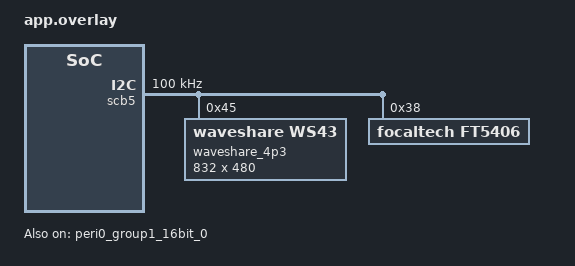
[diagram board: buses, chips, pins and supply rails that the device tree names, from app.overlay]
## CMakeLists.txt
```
cmake_minimum_required(VERSION 3.20.0)
find_package(Zephyr REQUIRED HINTS $ENV{ZEPHYR_BASE})
project(psoc_e84_lvgl_waveshare_touch)

# Chapter 018 deliberately extends the verified GFXSS/DSI implementation in
# Chapter 017.  The display and its CM33 clock-startup module remain a single
# source of truth while this chapter owns the FT5406 and LVGL input layer.
set(DISPLAY_CHAPTER ${CMAKE_CURRENT_SOURCE_DIR}/../017_LVGL_Waveshare_4_3_Display)
set(IFX_PDL ${ZEPHYR_HAL_INFINEON_MODULE_DIR}/mtb-dsl-pse8xxgp/pdl)
set(IFX_GFX ${IFX_PDL}/drivers/third_party/COMPONENT_GFXSS)

target_sources(app PRIVATE
  src/main.c
  src/ft5406_touch.c
  ${DISPLAY_CHAPTER}/src/waveshare_4p3_display.c
  ${IFX_PDL}/drivers/source/cy_mipidsi.c
  ${IFX_GFX}/cy_graphics.c
  ${IFX_GFX}/vsi/dcnano8000/DCUser/rtos/viv_dc_interface.c
  ${IFX_GFX}/vsi/dcnano8000/DCUser/rtos/viv_dc_os.c
  ${IFX_GFX}/vsi/dcnano8000/DCUser/viv_dc_setting.c
  ${IFX_GFX}/vsi/dcnano8000/DCUser/viv_dc_tools.c
  ${IFX_GFX}/vsi/dcnano8000/DCUser/viv_dc_util.c
  ${IFX_GFX}/vsi/dcnano8000/DCKernel/rtos/viv_dc_platform.c
  ${IFX_GFX}/vsi/dcnano8000/DCKernel/hardware/8000Nano/viv_dc_hardware.c
  ${IFX_GFX}/vsi/dcnano8000/DCKernel/viv_dc_core.c
  ${IFX_GFX}/vsi/dcnano8000/DCKernel/viv_dc_database.c
  ${IFX_GFX}/vsi/dcnano8000/DCKernel/dc_layer_feature.c
  ${IFX_GFX}/vsi/dcnano8000/DCKernel/viv_dc_lcd.c
  ${IFX_GFX}/vsi/dcnano8000/DCKernel/viv_dc_shell.c)

zephyr_include_directories(
  src
  ${DISPLAY_CHAPTER}/src
  ${IFX_PDL}/devices/include
  ${IFX_PDL}/devices/include/ip
  ${IFX_PDL}/drivers/include
  ${IFX_GFX}
  ${IFX_GFX}/vsi/dcnano8000/include
  ${IFX_GFX}/vsi/dcnano8000/DCKernel
  ${IFX_GFX}/vsi/dcnano8000/DCKernel/hardware/8000Nano
  ${IFX_GFX}/vsi/dcnano8000/DCKernel/rtos
  ${IFX_GFX}/vsi/dcnano8000/DCUser
  ${IFX_GFX}/vsi/dcnano8000/DCUser/rtos)

target_compile_definitions(app PRIVATE
  PSE846GPS2DBZC4A COMPONENT_55500 COMPONENT_55500A1 COMPONENT_CM55
  COMPONENT_CM55_0 COMPONENT_GFXSS COMPONENT_NON_SECURE_DEVICE _BAREMETAL=0)
target_compile_options(app PRIVATE -include cy_pdl.h)
```

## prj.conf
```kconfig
CONFIG_CONSOLE=y
CONFIG_UART_CONSOLE=y
CONFIG_PRINTK=y
CONFIG_I2C=y
CONFIG_DISPLAY=y
CONFIG_LVGL=y
CONFIG_LV_Z_AUTO_INIT=n
CONFIG_LV_Z_MEM_POOL_SIZE=65536
CONFIG_ASSERT=y
CONFIG_LV_COLOR_DEPTH_16=y
CONFIG_LV_Z_BUFFER_ALLOC_STATIC=y
CONFIG_LV_Z_VDB_ZEPHYR_REGION=y
CONFIG_LV_Z_VDB_ZEPHYR_REGION_NAME="GFX_MEM"
CONFIG_LV_Z_VDB_SIZE=100
CONFIG_LV_Z_FULL_REFRESH=y
CONFIG_LV_Z_VDB_ALIGN=128
CONFIG_LV_Z_DOUBLE_VDB=y
CONFIG_HEAP_MEM_POOL_SIZE=16384
CONFIG_MAIN_STACK_SIZE=4096
CONFIG_CRC=y
CONFIG_LV_FONT_MONTSERRAT_28=y
```

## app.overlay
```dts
/ {
	chosen {
		zephyr,display = &waveshare_4p3;
	};

	reserved-memory {
		#address-cells = <1>;
		#size-cells = <1>;
		ranges;

		gfx_mem: memory@26200000 {
			compatible = "zephyr,memory-region", "mmio-sram";
			zephyr,memory-region = "GFX_MEM";
			reg = <0x26200000 0x00300000>;
		};
	};
};

&p17_0_scb5_i2c_scl { drive-open-drain; input-enable; };
&p17_1_scb5_i2c_sda { drive-open-drain; input-enable; };

&peri0_group1_16bit_0 { status = "okay"; clock-div = <32>; };

&scb5 {
	compatible = "infineon,i2c";
	status = "okay";
	clocks = <&peri0_group1_16bit_0>;
	clock-frequency = <100000>;
	pinctrl-0 = <&p17_0_scb5_i2c_scl &p17_1_scb5_i2c_sda>;
	pinctrl-names = "default";
	#address-cells = <1>;
	#size-cells = <0>;

	waveshare_4p3: display@45 {
		compatible = "waveshare,ws43";
		reg = <0x45>;
		width = <832>;
		height = <480>;
		status = "okay";
	};

	ft5406: touch@38 {
		compatible = "focaltech,ft5406";
		reg = <0x38>;
		status = "okay";
	};
};
```

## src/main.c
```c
#include <zephyr/drivers/display.h>
#include <zephyr/drivers/uart.h>
#include <zephyr/init.h>
#include <zephyr/kernel.h>
#include <cy_sysclk.h>
#include <lvgl.h>
#include <lvgl_zephyr.h>
#include <stdio.h>
#include <string.h>

#include "ft5406_touch.h"
#include "waveshare_4p3_display.h"

static int display_clock_metadata_init(void)
{
	/* CM33 enables the external-clock PLL.  The M55 PDL copy also needs
	 * the board crystal frequency before GFXSS/DSI queries it. */
	Cy_SysClk_EcoSetFrequency(17203200U);
	return 0;
}
SYS_INIT(display_clock_metadata_init, PRE_KERNEL_1, 0);

static const struct device *display = DEVICE_DT_GET(DT_CHOSEN(zephyr_display));
static lv_obj_t *status_label;
static uint32_t click_count;
static char armed_token[40];
static uint32_t reported_touches;

static void update_status_label(const char *prefix)
{
	struct ft5406_status status;
	ft5406_get_status(&status);
	lv_label_set_text_fmt(status_label, "%s\nTouch count: %u\nLast: %u, %u",
			      prefix, status.touches, status.x, status.y);
}

static void button_event(lv_event_t *event)
{
	if (lv_event_get_code(event) != LV_EVENT_CLICKED) {
		return;
	}
	click_count++;
	update_status_label("Button clicked!");
	printk("OK TOUCH LVGL_CLICK count=%u\n", click_count);
}

static void report_touch_status(const char *token)
{
	struct ft5406_status status;
	ft5406_get_status(&status);
	int ret = (!status.ready || status.last_error != 0) ? -EIO : 0;
	printk("%s TOUCH STATUS token=%s ready=%u polls=%u reads=%u touches=%u "
	       "pressed=%u raw=%u,%u mapped=%u,%u ret=%d\n",
	       ret == 0 ? "OK" : "FAIL", token, status.ready, status.polls, status.reads,
	       status.touches, status.pressed, status.raw_x, status.raw_y, status.x, status.y, ret);
}

static void handle_command(char *line)
{
	char command[16];
	char token[40];
	char extra;
	if (sscanf(line, "touch %15s %39s %c", command, token, &extra) != 2) {
		printk("FAIL TOUCH COMMAND expected='touch info|arm TOKEN'\n");
		return;
	}
	if (strcmp(command, "info") == 0) {
		report_touch_status(token);
	} else if (strcmp(command, "arm") == 0) {
		strcpy(armed_token, token);
		reported_touches = 0;
		printk("OK TOUCH ARMED token=%s\n", armed_token);
	} else {
		printk("FAIL TOUCH COMMAND token=%s\n", token);
	}
}

int main(void)
{
	const struct device *uart = DEVICE_DT_GET(DT_CHOSEN(zephyr_console));
	if (!device_is_ready(display)) {
		printk("FAIL TOUCH display_not_ready\n");
		return 0;
	}
	int ret = lvgl_init();
	if (ret != 0 || lv_display_get_default() == NULL) {
		printk("FAIL TOUCH LVGL_INIT ret=%d\n", ret);
		return 0;
	}
	if (ft5406_init() != 0) {
		printk("FAIL TOUCH FT5406_INIT\n");
		return 0;
	}
	ft5406_lvgl_register();

	lv_obj_t *screen = lv_screen_active();
	lv_obj_set_style_bg_color(screen, lv_color_hex(0x102238), 0);
	lv_obj_t *title = lv_label_create(screen);
	lv_label_set_text(title, "TESA AIoT E84\nFT5406 Touch / LVGL");
	lv_obj_set_width(title, 800);
	lv_obj_set_style_text_align(title, LV_TEXT_ALIGN_CENTER, 0);
	lv_obj_set_style_text_color(title, lv_color_white(), 0);
	lv_obj_set_style_text_font(title, &lv_font_montserrat_28, 0);
	lv_obj_align(title, LV_ALIGN_TOP_MID, 0, 35);

	lv_obj_t *button = lv_button_create(screen);
	lv_obj_set_size(button, 400, 125);
	lv_obj_align(button, LV_ALIGN_CENTER, 0, 15);
	lv_obj_set_style_bg_color(button, lv_color_hex(0x1565C0), 0);
	lv_obj_add_event_cb(button, button_event, LV_EVENT_CLICKED, NULL);
	lv_obj_t *button_label = lv_label_create(button);
	lv_label_set_text(button_label, "TOUCH ME");
	lv_obj_set_style_text_font(button_label, &lv_font_montserrat_28, 0);
	lv_obj_center(button_label);

	status_label = lv_label_create(screen);
	lv_obj_set_width(status_label, 800);
	lv_obj_set_style_text_align(status_label, LV_TEXT_ALIGN_CENTER, 0);
	lv_obj_set_style_text_color(status_label, lv_color_hex(0xB7D7F5), 0);
	lv_obj_align(status_label, LV_ALIGN_BOTTOM_MID, 0, -35);
	update_status_label("Touch the blue button");
	lv_refr_now(NULL);
	ret = display_blanking_off(display);
	if (ret != 0) {
		printk("FAIL TOUCH BACKLIGHT ret=%d\n", ret);
		return 0;
	}
	printk("OK TOUCH INITIALIZATION_SUCCESS controller=FT5406\n");
	printk("INFO TOUCH COMMANDS touch info|arm TOKEN\n");

	char line[96];
	size_t used = 0;
	bool overflow = false;
	while (true) {
		(void)ft5406_poll();
		struct ft5406_status status;
		ft5406_get_status(&status);
		if (armed_token[0] != '\0' && status.touches != reported_touches) {
			reported_touches = status.touches;
			printk("OK TOUCH TAP token=%s mapped=%u,%u raw=%u,%u\n", armed_token,
			       status.x, status.y, status.raw_x, status.raw_y);
			armed_token[0] = '\0';
		}
		unsigned char ch;
		while (uart_poll_in(uart, &ch) == 0) {
			if (ch == '\r' || ch == '\n') {
				if (overflow) {
					printk("FAIL TOUCH COMMAND too_long\n");
				} else if (used > 0) {
					line[used] = '\0';
					handle_command(line);
				}
				used = 0;
				overflow = false;
			} else if (used < sizeof(line) - 1) {
				line[used++] = ch;
			} else {
				overflow = true;
			}
		}
		lv_timer_handler();
		k_msleep(20);
	}
}
```

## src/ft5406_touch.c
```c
#include <zephyr/device.h>
#include <zephyr/devicetree.h>
#include <zephyr/drivers/i2c.h>
#include <zephyr/kernel.h>
#include <zephyr/sys/util.h>
#include <lvgl.h>

#include "ft5406_touch.h"

#define FT5406_REG_MODE 0x00U
#define FT5406_REG_TOUCH_DATA 0x01U
#define FT5406_NORMAL_MODE 0x00U
#define FT5406_EVENT_DOWN 0U
#define FT5406_EVENT_CONTACT 2U
#define DISPLAY_WIDTH 800U
#define DISPLAY_HEIGHT 480U

static const struct i2c_dt_spec ft5406 = I2C_DT_SPEC_GET(DT_NODELABEL(ft5406));
static struct ft5406_status touch;

static uint16_t clamp_coordinate(int value, uint16_t maximum)
{
	return (uint16_t)CLAMP(value, 0, (int)maximum - 1);
}

static void ft5406_lvgl_read(lv_indev_t *indev, lv_indev_data_t *data)
{
	ARG_UNUSED(indev);
	data->state = touch.pressed ? LV_INDEV_STATE_PRESSED : LV_INDEV_STATE_RELEASED;
	data->point.x = touch.x;
	data->point.y = touch.y;
}

int ft5406_init(void)
{
	uint8_t normal_mode[] = { FT5406_REG_MODE, FT5406_NORMAL_MODE };

	if (!i2c_is_ready_dt(&ft5406)) {
		touch.last_error = -ENODEV;
		return touch.last_error;
	}
	touch.last_error = i2c_write_dt(&ft5406, normal_mode, sizeof(normal_mode));
	if (touch.last_error == 0) {
		touch.ready = true;
		printk("OK TOUCH FT5406_READY address=0x%02x\n", ft5406.addr);
	}
	return touch.last_error;
}

int ft5406_poll(void)
{
	uint8_t reg = FT5406_REG_TOUCH_DATA;
	uint8_t raw[6];
	int ret;
	bool was_pressed = touch.pressed;

	if (!touch.ready) {
		return -ENODEV;
	}
	touch.polls++;
	ret = i2c_write_read_dt(&ft5406, &reg, sizeof(reg), raw, sizeof(raw));
	if (ret != 0) {
		touch.last_error = ret;
		touch.pressed = false;
		return ret;
	}
	touch.reads++;
	touch.last_error = 0;
	touch.pressed = false;
	uint8_t count = raw[1] & 0x0fU;
	uint8_t event = raw[2] >> 6U;
	if (count != 0U && (event == FT5406_EVENT_DOWN || event == FT5406_EVENT_CONTACT)) {
		touch.raw_x = ((uint16_t)(raw[2] & 0x0fU) << 8U) | raw[3];
		touch.raw_y = ((uint16_t)(raw[4] & 0x0fU) << 8U) | raw[5];
		/* The 4.3-inch panel is physically rotated relative to the DSI scan-out. */
		touch.x = clamp_coordinate((int)DISPLAY_WIDTH - 1 - touch.raw_x, DISPLAY_WIDTH);
		touch.y = clamp_coordinate((int)DISPLAY_HEIGHT - 1 - touch.raw_y, DISPLAY_HEIGHT);
		touch.pressed = true;
		if (!was_pressed) {
			touch.touches++;
			printk("OK TOUCH EVENT raw=%u,%u mapped=%u,%u count=%u\n",
			       touch.raw_x, touch.raw_y, touch.x, touch.y, count);
		}
	}
	return 0;
}

void ft5406_lvgl_register(void)
{
	lv_indev_t *indev = lv_indev_create();
	__ASSERT(indev != NULL, "LVGL touch input allocation failed");
	lv_indev_set_type(indev, LV_INDEV_TYPE_POINTER);
	lv_indev_set_read_cb(indev, ft5406_lvgl_read);
}

void ft5406_get_status(struct ft5406_status *status)
{
	*status = touch;
}
```

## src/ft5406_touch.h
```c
#ifndef FT5406_TOUCH_H
#define FT5406_TOUCH_H

#include <stdbool.h>
#include <stdint.h>

struct ft5406_status {
	uint32_t polls;
	uint32_t reads;
	uint32_t touches;
	uint16_t raw_x;
	uint16_t raw_y;
	uint16_t x;
	uint16_t y;
	bool ready;
	bool pressed;
	int last_error;
};

int ft5406_init(void);
int ft5406_poll(void);
void ft5406_lvgl_register(void);
void ft5406_get_status(struct ft5406_status *status);

#endif
```
